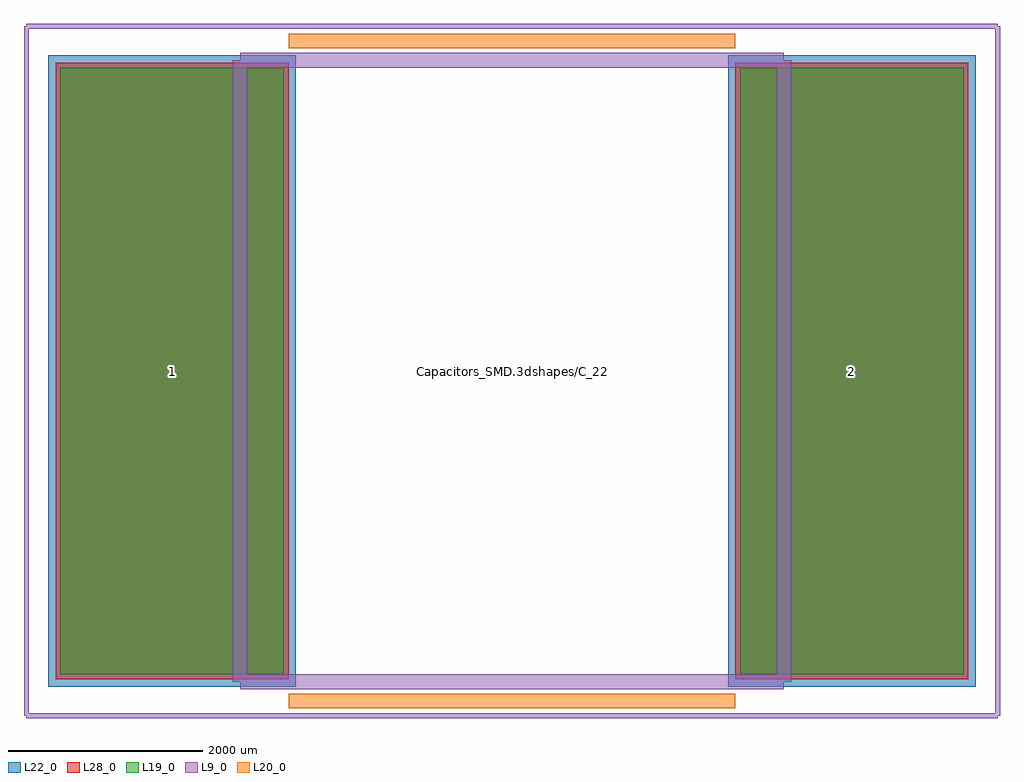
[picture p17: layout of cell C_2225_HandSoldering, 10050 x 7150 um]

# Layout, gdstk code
import gdstk
lib = gdstk.Library(unit=1e-6, precision=1e-09)
def R(c, l, rs):  # rectangles x0, y0, x1, y1
    for r in rs: c.add(gdstk.rectangle(r[:2], r[2:], *l))
L9_0 = (9, 0)
L19_0 = (19, 0)
L20_0 = (20, 0)
L22_0 = (22, 0)
L28_0 = (28, 0)

c_2225_handsoldering = lib.new_cell('C_2225_HandSoldering')
R(c_2225_handsoldering, L19_0, [(-4650,-3125,-2350,3125), (2350,-3125,4650,3125)])
R(c_2225_handsoldering, L22_0, [(-4775,-3250,-2225,3250), (2225,-3250,4775,3250)])
R(c_2225_handsoldering, L28_0, [(-4700,-3175,-2300,3175), (2300,-3175,4700,3175)])
c_2225_handsoldering.add(gdstk.FlexPath([(-2300,-3400),(2300,-3400)], 149.998, ends="flush", simple_path=True, layer=20, datatype=0))  # L20_0
c_2225_handsoldering.add(gdstk.FlexPath([(2300,3400),(-2300,3400)], 149.998, ends="flush", simple_path=True, layer=20, datatype=0))  # L20_0
c_2225_handsoldering.add(gdstk.FlexPath([(5000,3550),(5000,-3550)], 50, ends="flush", simple_path=True, layer=9, datatype=0))  # L9_0
c_2225_handsoldering.add(gdstk.FlexPath([(-5000,3550),(-5000,-3550)], 50, ends="flush", simple_path=True, layer=9, datatype=0))  # L9_0
c_2225_handsoldering.add(gdstk.FlexPath([(-5000,-3550),(5000,-3550)], 50, ends="flush", simple_path=True, layer=9, datatype=0))  # L9_0
c_2225_handsoldering.add(gdstk.FlexPath([(-5000,3550),(5000,3550)], 50, ends="flush", simple_path=True, layer=9, datatype=0))  # L9_0
c_2225_handsoldering.add(gdstk.FlexPath([(-2800,3200),(2800,3200)], 149.998, ends="flush", simple_path=True, layer=9, datatype=0))  # L9_0
c_2225_handsoldering.add(gdstk.FlexPath([(2800,3200),(2800,-3200)], 149.998, ends="flush", simple_path=True, layer=9, datatype=0))  # L9_0
c_2225_handsoldering.add(gdstk.FlexPath([(2800,-3200),(-2800,-3200)], 149.998, ends="flush", simple_path=True, layer=9, datatype=0))  # L9_0
c_2225_handsoldering.add(gdstk.FlexPath([(-2800,-3200),(-2800,3200)], 149.998, ends="flush", simple_path=True, layer=9, datatype=0))  # L9_0
c_2225_handsoldering.add(gdstk.Label('Capacitors_SMD.3dshapes/C_2225_HandSoldering.wrl', (0,0), layer=12, texttype=0))
c_2225_handsoldering.add(gdstk.Label('2', (3500,0), layer=28, texttype=0))
c_2225_handsoldering.add(gdstk.Label('1', (-3500,0), layer=28, texttype=0))
c_2225_handsoldering.add(gdstk.Label('type', (0,-4700), layer=9, texttype=0))
c_2225_handsoldering.add(gdstk.Label('devicename', (0,4700), layer=9, texttype=0))

lib.write_gds('C_2225_HandSoldering.gds')
